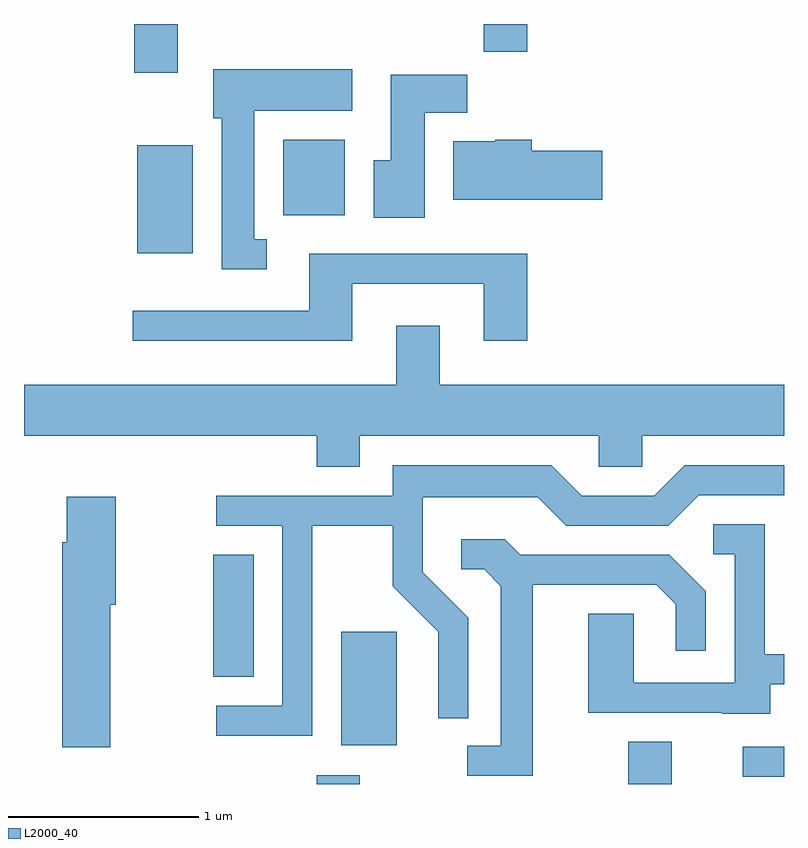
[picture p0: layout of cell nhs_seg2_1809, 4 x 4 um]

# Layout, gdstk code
import gdstk
lib = gdstk.Library(unit=1e-6, precision=1e-09)
def R(c, l, rs):  # rectangles x0, y0, x1, y1
    for r in rs: c.add(gdstk.rectangle(r[:2], r[2:], *l))
def P(c, l, *ps):  # polygons
    for p in ps: c.add(gdstk.Polygon(p, *l))
L2000_40 = (2000, 40)

nhs_seg2_1809 = lib.new_cell('nhs_seg2_1809')
R(nhs_seg2_1809, L2000_40, [(239.151,1059.802,239.379,1059.849), (240.791,1059.802,241.019,1060.024), (241.393,1059.841,241.611,1059.999), (239.281,1060.006,239.574,1060.604), (238.606,1060.366,238.819,1061.009), (238.206,1062.596,238.499,1063.164), (238.976,1062.796,239.299,1063.194), (238.191,1063.546,238.419,1063.802), (240.031,1063.656,240.259,1063.802)])
P(nhs_seg2_1809, L2000_40, [(238.888,1062.669),(238.824,1062.669),(238.824,1063.346),(239.339,1063.346),(239.339,1063.564),(238.606,1063.564),(238.606,1063.306),(238.651,1063.306),(238.651,1062.511),(238.888,1062.511)],
  [(239.719,1063.336),(239.944,1063.336),(239.944,1063.534),(239.541,1063.534),(239.541,1063.084),(239.451,1063.084),(239.451,1062.781),(239.719,1062.781)],
  [(240.654,1063.134),(240.284,1063.134),(240.284,1063.194),(240.09,1063.194),(240.09,1063.184),(239.871,1063.184),(239.871,1062.876),(240.654,1062.876)],
  [(239.339,1062.436),(240.031,1062.436),(240.031,1062.136),(240.259,1062.136),(240.259,1062.594),(239.111,1062.594),(239.111,1062.294),(238.183,1062.294),(238.183,1062.136),(239.339,1062.136)],
  [(239.379,1061.636),(240.636,1061.636),(240.636,1061.471),(240.864,1061.471),(240.864,1061.636),(241.611,1061.636),(241.611,1061.904),(239.799,1061.904),(239.799,1062.214),(239.571,1062.214),(239.571,1061.904),(237.611,1061.904),(237.611,1061.636),(239.151,1061.636),(239.151,1061.471),(239.379,1061.471)],
  [(239.129,1061.161),(239.551,1061.161),(239.551,1060.844),(239.791,1060.604),(239.791,1060.148),(239.949,1060.148),(239.949,1060.677),(239.709,1060.917),(239.709,1061.311),(240.314,1061.311),(240.464,1061.161),(241.002,1061.161),(241.162,1061.321),(241.611,1061.321),(241.611,1061.479),(241.089,1061.479),(240.929,1061.319),(240.547,1061.319),(240.387,1061.479),(239.551,1061.479),(239.551,1061.319),(238.623,1061.319),(238.623,1061.161),(238.971,1061.161),(238.971,1060.214),(238.623,1060.214),(238.623,1060.056),(239.129,1060.056)],
  [(238.064,1060.746),(238.094,1060.746),(238.094,1061.314),(237.836,1061.314),(237.836,1061.074),(237.811,1061.074),(237.811,1059.996),(238.064,1059.996)],
  [(241.539,1060.326),(241.611,1060.326),(241.611,1060.484),(241.509,1060.484),(241.509,1061.169),(241.238,1061.169),(241.238,1061.011),(241.351,1061.011),(241.351,1060.334),(240.819,1060.334),(240.819,1060.699),(240.581,1060.699),(240.581,1060.176),(241.285,1060.176),(241.285,1060.171),(241.539,1060.171)],
  [(240.289,1060.851),(240.939,1060.851),(241.041,1060.749),(241.041,1060.503),(241.199,1060.503),(241.199,1060.817),(241.007,1061.009),(240.222,1061.009),(240.142,1061.089),(239.913,1061.089),(239.913,1060.931),(240.034,1060.931),(240.121,1060.844),(240.121,1060.004),(239.943,1060.004),(239.943,1059.846),(240.289,1059.846)])

lib.write_gds('nhs_seg2_1809.gds')
